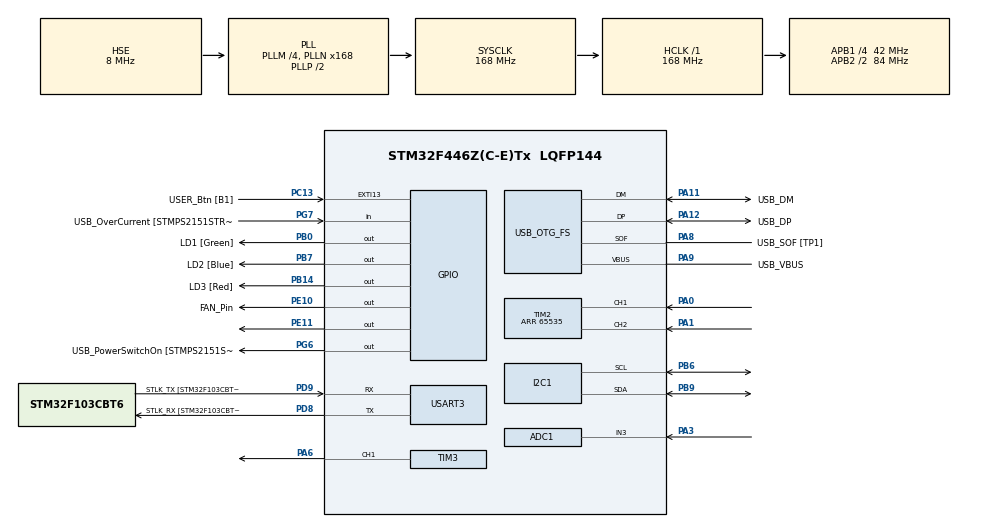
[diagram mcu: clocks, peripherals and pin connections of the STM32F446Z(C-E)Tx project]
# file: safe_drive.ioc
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ADC1.Channel-0\#ChannelRegularConversion=ADC_CHANNEL_3
ADC1.NbrOfConversionFlag=1
ADC1.Rank-0\#ChannelRegularConversion=1
ADC1.SamplingTime-0\#ChannelRegularConversion=ADC_SAMPLETIME_56CYCLES
ADC1.master=1
Mcu.Family=STM32F4
Mcu.Name=STM32F446Z(C-E)Tx
Mcu.Package=LQFP144
NVIC.EXTI15_10_IRQn=true\:0\:0\:false\:false\:true\:true\:true\:true
NVIC.PriorityGroup=NVIC_PRIORITYGROUP_4
PA0-WKUP.Signal=S_TIM2_CH1_ETR
PA1.Signal=S_TIM2_CH2
PA10.GPIO_Label=USB_ID
PA10.Signal=USB_OTG_FS_ID
PA11.GPIO_Label=USB_DM
PA11.Mode=Device_Only
PA11.Signal=USB_OTG_FS_DM
PA12.GPIO_Label=USB_DP
PA12.Mode=Device_Only
PA12.Signal=USB_OTG_FS_DP
PA13.GPIO_Label=TMS
PA13.Mode=Serial_Wire
PA13.Signal=SYS_JTMS-SWDIO
PA14.GPIO_Label=TCK
PA14.Mode=Serial_Wire
PA14.Signal=SYS_JTCK-SWCLK
PA3.Signal=ADCx_IN3
PA6.Signal=S_TIM3_CH1
PA8.GPIO_Label=USB_SOF [TP1]
PA8.Mode=Activate_SOF_FS
PA8.Signal=USB_OTG_FS_SOF
PA9.GPIO_Label=USB_VBUS
PA9.Mode=Activate_VBUS
PA9.Signal=USB_OTG_FS_VBUS
PB0.GPIO_Label=LD1 [Green]
PB0.Signal=GPIO_Output
PB14.GPIO_Label=LD3 [Red]
PB14.Signal=GPIO_Output
PB6.Mode=I2C
PB6.Signal=I2C1_SCL
PB7.GPIO_Label=LD2 [Blue]
PB7.Signal=GPIO_Output
PB9.Mode=I2C
PB9.Signal=I2C1_SDA
PC13.GPIO_Label=USER_Btn [B1]
PC13.GPIO_ModeDefaultEXTI=GPIO_MODE_IT_RISING_FALLING
PC13.Signal=GPXTI13
PC14-OSC32_IN.Mode=LSE-External-Oscillator
PC14-OSC32_IN.Signal=RCC_OSC32_IN
PC15-OSC32_OUT.Mode=LSE-External-Oscillator
PC15-OSC32_OUT.Signal=RCC_OSC32_OUT
PD8.GPIO_Label=STLK_RX [STM32F103CBT6_PA3]
PD8.Mode=Asynchronous
PD8.Signal=USART3_TX
PD9.GPIO_Label=STLK_TX [STM32F103CBT6_PA2]
PD9.Mode=Asynchronous
PD9.Signal=USART3_RX
PE10.GPIO_Label=FAN_Pin
PE10.Signal=GPIO_Output
PE11.Signal=GPIO_Output
PG6.GPIO_Label=USB_PowerSwitchOn [STMPS2151STR_EN]
PG6.Signal=GPIO_Output
PG7.GPIO_Label=USB_OverCurrent [STMPS2151STR_FAULT]
PG7.Signal=GPIO_Input
PH0-OSC_IN.GPIO_Label=MCO [STM32F103CBT6_PA8]
PH0-OSC_IN.Mode=HSE-External-Clock-Source
PH0-OSC_IN.Signal=RCC_OSC_IN
PH1-OSC_OUT.Mode=HSE-External-Clock-Source
PH1-OSC_OUT.Signal=RCC_OSC_OUT
ProjectManager.HeapSize=0x200
ProjectManager.StackSize=0x400
ProjectManager.TargetToolchain=CMake
RCC.48MHZClocksFreq_Value=24000000
RCC.AHBFreq_Value=168000000
RCC.APB1CLKDivider=RCC_HCLK_DIV4
RCC.APB1Freq_Value=42000000
RCC.APB1TimFreq_Value=84000000
RCC.APB2CLKDivider=RCC_HCLK_DIV2
RCC.APB2Freq_Value=84000000
RCC.APB2TimFreq_Value=168000000
RCC.CortexFreq_Value=168000000
RCC.HCLKFreq_Value=168000000
RCC.HSE_VALUE=8000000
RCC.HSI_VALUE=16000000
RCC.PLLM=4
RCC.PLLMUL=RCC_PLL_MUL9
RCC.PLLN=168
RCC.PLLQ=7
RCC.PRESCALERUSB=RCC_USBCLKSOURCE_PLL_DIV1_5
RCC.SYSCLKFreq_VALUE=168000000
RCC.SYSCLKSource=RCC_SYSCLKSOURCE_PLLCLK
RCC.SYSCLKSourceVirtual=RCC_SYSCLKSOURCE_PLLCLK
RCC.USBFreq_Value=48000000
RCC.VCOOutputFreq_Value=336000000
SH.ADCx_IN3.0=ADC1_IN3,IN3
SH.S_TIM2_CH1_ETR.0=TIM2_CH1,Encoder_Interface
SH.S_TIM2_CH2.0=TIM2_CH2,Encoder_Interface
SH.S_TIM3_CH1.0=TIM3_CH1,PWM Generation1 CH1
TIM2.Period=65535
TIM3.Channel-PWM\ Generation1\ CH1=TIM_CHANNEL_1
TIM3.Period=99
TIM3.Prescaler=83
TIM3.Pulse-PWM\ Generation1\ CH1=50
USART3.VirtualMode=VM_ASYNC
USB_OTG_FS.VirtualMode=Device_Only
board=NUCLEO-F446ZE

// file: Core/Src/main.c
/* USER CODE BEGIN Header */
/**
  ******************************************************************************
  * @file           : main.c
  * @brief          : Main program body
  ******************************************************************************
  * @attention
  *
  * Copyright (c) 2026 STMicroelectronics.
  * All rights reserved.
  *
  * This software is licensed under terms that can be found in the LICENSE file
  * in the root directory of this software component.
  * If no LICENSE file comes with this software, it is provided AS-IS.
  *
  ******************************************************************************
  */
/* USER CODE END Header */
#include "main.h"
#include "hw/servo_hw.h"
#include <stdio.h>
#include <stdlib.h>
#include "hw/fan_hw.h"
#include "hw/encoder_hw.h"
#include <string.h>

ADC_HandleTypeDef hadc1;

I2C_HandleTypeDef hi2c1;

TIM_HandleTypeDef htim2;
TIM_HandleTypeDef htim3;

UART_HandleTypeDef huart3;

PCD_HandleTypeDef hpcd_USB_OTG_FS;

/* USER CODE BEGIN PV */
uint8_t last_btn_state = GPIO_PIN_RESET;
uint32_t last_debounce = 0;
uint8_t rx_data = 0;

char cmd_buf[16];
uint8_t cmd_idx = 0;

/* USER CODE END PV */

void SystemClock_Config(void);
static void MX_GPIO_Init(void);
static void MX_USART3_UART_Init(void);
static void MX_USB_OTG_FS_PCD_Init(void);
static void MX_I2C1_Init(void);
static void MX_ADC1_Init(void);
static void MX_TIM3_Init(void);
static void MX_TIM2_Init(void);

/* USER CODE BEGIN 0 */
int __io_putchar(int ch) {
    HAL_UART_Transmit(&huart3, (uint8_t*)&ch, 1, 100);
    return ch;
}

/* USER CODE END 0 */

int main(void)
{

  /* MCU Configuration--------------------------------------------------------*/

  /* Reset of all peripherals, Initializes the Flash interface and the Systick. */
  HAL_Init();

  /* Configure the system clock */
  SystemClock_Config();

  /* Initialize all configured peripherals */
  MX_GPIO_Init();
  MX_USART3_UART_Init();
  MX_USB_OTG_FS_PCD_Init();
  MX_I2C1_Init();
  MX_ADC1_Init();
  MX_TIM3_Init();
  MX_TIM2_Init();
  /* USER CODE BEGIN 2 */
  // touch_hw_init();
  // uart_hw_init(&huart3);

  //uart_hw_init(&huart3);
  // printf("Pocinje I2C sken... \r\n");
  // uint8_t found = 0;
  // for (uint8_t address = 0x08; address < 0x78; address++)
  // {
  //     HAL_StatusTypeDef result = HAL_I2C_IsDeviceReady(&hi2c1, (address << 1), 3, 5);
  //     if (result == HAL_OK)
  //     {
  //         printf("Uspjesno pronadjen uredjaj na adresi: 0x%02X\r\n", address);
  //         found++;
  //     }
  //     else if (result == HAL_ERROR)
  //     {
  //         printf("Greska pri komunikaciji sa uredjajem na adresi: 0x%02X\r\n", address);
  //     }
  // }

  // if (imu_hw_init())
  // {
  //  imu_hw_alive();
  // {
  //   float temp = 0.0f;
  //   if(imu_hw_read_temp(&temp))
  //   {
  //       printf("Temperatura: %.2f °C\r\n", temp);
  //   }
  //   else
  //   {
  //       printf("Neuspjesno citanje temperature.\r\n");
  //   }

  //  }
  //imu_hw_config_ranges();
  //distance_hw_init();
  //}
  servo_hw_init();
  fan_hw_init();
    printf("\r\n========================================\r\n");
    printf("  TEST SISTEMA SPREMAN!\r\n");
    printf("  - Za ventilator: ukucaj '1' (ili 'fan on') / '0' (ili 'fan off')\r\n");
    printf("  - Za servo: ukucaj broj izmedju -100 i 100\r\n");
    printf("========================================\r\n");
  /* USER CODE END 2 */

  /* Infinite loop */
  /* USER CODE BEGIN WHILE */
  /*uint32_t prevtick1 = 0;
  uint32_t period1 = 300;
  uint8_t led1 = 0;
  uint32_t prevtick2 = 0;
  uint32_t period2 = 600;
  uint8_t led2 = 0;*/
  while (1)
  {
    /*if (HAL_UART_Receive(&huart3, &rx_data, 1, 0) == HAL_OK)
    {
      switch (rx_data)
      {
        case '1':
          HAL_GPIO_TogglePin(LD1_GPIO_Port, LD1_Pin);
          printf("Zelena promjenjena!\r\n");
          break;

        case '2':
          HAL_GPIO_TogglePin(LD2_GPIO_Port, LD2_Pin);
          printf("Plava promjenjena!\r\n");
          break;

        case '3':
          HAL_GPIO_TogglePin(LD3_GPIO_Port, LD3_Pin);
          printf("Crvena promjenjena!\r\n");
          break;

        default:

          break;
      }
    }
    */

    // CITANJE TEMPERATURE I ISPISIVANJE NA TERMINAL NA PRITISAK DUGMETA
    // uint32_t current_tick = HAL_GetTick();
    // uint8_t btn_state = HAL_GPIO_ReadPin(USER_Btn_GPIO_Port, USER_Btn_Pin);

    // if (btn_state == GPIO_PIN_SET && last_btn_state == GPIO_PIN_RESET)
    // {
    //     if (current_tick - last_debounce > 50)
    //     {
    //         float temp = 0.0f;
    //         if (imu_hw_read_temp(&temp))
    //         {
    //            printf("Temperatura je : %.2f C\r\n", temp);
    //         }
    //         else
    //         {
    //             printf("Neuspjesno citanje temperature!\r\n");

    //         }
    //          float ax, ay, az;
    //         if (imu_hw_read_accel_g(&ax, &ay, &az))
    //         {
    //             printf("Accel: X=%.3f g, Y=%.3f g, Z=%.3f g\r\n", ax, ay, az);
    //         }

    //         float gx, gy, gz;
    //         if (imu_hw_read_gyro_dps(&gx, &gy, &gz))
    //         {
    //             printf("Gyro: X=%.2f deg/s, Y=%.2f deg/s, Z=%.2f deg/s\r\n", gx, gy, gz);
    //         }
    //             last_debounce = current_tick;
    //         }
    // }
    // last_btn_state = btn_state;

    /*if( HAL_GetTick() - prevtick1 >= period1)
    {
      prevtick1 = HAL_GetTick();

      led1 = !led1;

      if (led1)
        {
          HAL_GPIO_WritePin(LD1_GPIO_Port, LD1_Pin, GPIO_PIN_SET);
        }
        else
        {
          HAL_GPIO_WritePin(LD1_GPIO_Port, LD1_Pin, GPIO_PIN_RESET);
        }
    }

    if( HAL_GetTick() - prevtick2 >= period2)
    {
      prevtick2 = HAL_GetTick();

      led2 = !led2;

      if (led2)
        {
          HAL_GPIO_WritePin(LD2_GPIO_Port, LD2_Pin, GPIO_PIN_SET);
        }
        else
        {
          HAL_GPIO_WritePin(LD2_GPIO_Port, LD2_Pin, GPIO_PIN_RESET);
        }
    }

    if (HAL_GPIO_ReadPin(USER_Btn_GPIO_Port, USER_Btn_Pin) == GPIO_PIN_SET)
    {
        HAL_GPIO_WritePin(LD3_GPIO_Port, LD3_Pin, GPIO_PIN_SET);
    }
    else
    {
        HAL_GPIO_WritePin(LD3_GPIO_Port, LD3_Pin, GPIO_PIN_RESET);
    }*/

    // touch_hw_update();

    // if (touch_is_pressed() && touch_get_press_dur_mil() > 1000)

    //     HAL_GPIO_WritePin(LD3_GPIO_Port, LD3_Pin, GPIO_PIN_SET);

    // else
    // {
    //      HAL_GPIO_WritePin(LD3_GPIO_Port, LD3_Pin, GPIO_PIN_RESET);
    // }

    // uart_hw_update();
    /*
*/
    //CITANJE UDALJENOSTI
    // static uint32_t last_distance_read = 0;
    // if (HAL_GetTick() - last_distance_read >= 500)
    // {
    //     last_distance_read = HAL_GetTick();
    //     float distance = 0.0f;
    //     if (distance_hw_read_cm(&distance))
    //     {
    //         printf("Udaljenost: %.2f cm\r\n", distance);
    //     }
    // }
   // KALIBRACIJA SENZORA
//    float v = 0.0f;
// if (distance_hw_read_voltage_debug(&v))
// {
//     printf("Napon: %.3f V\r\n", v);
// }
    while (1)
    {
        if (HAL_UART_Receive(&huart3, &rx_data, 1, 0) == HAL_OK)
        {
            if (rx_data == '\r' || rx_data == '\n')
            {
                if (cmd_idx > 0)
                {
                    cmd_buf[cmd_idx] = '\0'; // Zavrsi string

                    // 1. Provjera komandi za ventilator
                    if (strcmp(cmd_buf, "1") == 0 || strcmp(cmd_buf, "fan on") == 0)
                    {
                        fan_hw_set(true);
                        printf("Ventilator: UPALJEN (PE10 -> HIGH)\r\n");
                    }
                    else if (strcmp(cmd_buf, "0") == 0 || strcmp(cmd_buf, "fan off") == 0)
                    {
                        fan_hw_set(false);
                        printf("Ventilator: UGASEN (PE10 -> LOW)\r\n");
                    }
                    // 2. Ako nije ventilator, obradi kao brzinu serva
                    else
                    {
                        int speed = atoi(cmd_buf);
                        servo_hw_set_speed((int8_t)speed);
                        printf("Servo brzina postavljena na: %d\r\n", speed);
                    }

                    cmd_idx = 0; // Resetuj bafer za sljedecu komandu
                }
            }
            else if (cmd_idx < sizeof(cmd_buf) - 1)
            {
                cmd_buf[cmd_idx++] = rx_data;
            }
        }
    /* USER CODE END WHILE */

  }
}
}

void SystemClock_Config(void)
{
  RCC_OscInitTypeDef RCC_OscInitStruct = {0};
  RCC_ClkInitTypeDef RCC_ClkInitStruct = {0};

  /** Configure the main internal regulator output voltage
  */
  __HAL_RCC_PWR_CLK_ENABLE();
  __HAL_PWR_VOLTAGESCALING_CONFIG(PWR_REGULATOR_VOLTAGE_SCALE1);

  /** Initializes the RCC Oscillators according to the specified parameters
  * in the RCC_OscInitTypeDef structure.
  */
  RCC_OscInitStruct.OscillatorType = RCC_OSCILLATORTYPE_HSE;
  RCC_OscInitStruct.HSEState = RCC_HSE_BYPASS;
  RCC_OscInitStruct.PLL.PLLState = RCC_PLL_ON;
  RCC_OscInitStruct.PLL.PLLSource = RCC_PLLSOURCE_HSE;
  RCC_OscInitStruct.PLL.PLLM = 4;
  RCC_OscInitStruct.PLL.PLLN = 168;
  RCC_OscInitStruct.PLL.PLLP = RCC_PLLP_DIV2;
  RCC_OscInitStruct.PLL.PLLQ = 7;
  RCC_OscInitStruct.PLL.PLLR = 2;
  if (HAL_RCC_OscConfig(&RCC_OscInitStruct) != HAL_OK)
  {
    Error_Handler();
  }

  /** Initializes the CPU, AHB and APB buses clocks
  */
  RCC_ClkInitStruct.ClockType = RCC_CLOCKTYPE_HCLK|RCC_CLOCKTYPE_SYSCLK
                              |RCC_CLOCKTYPE_PCLK1|RCC_CLOCKTYPE_PCLK2;
  RCC_ClkInitStruct.SYSCLKSource = RCC_SYSCLKSOURCE_PLLCLK;
  RCC_ClkInitStruct.AHBCLKDivider = RCC_SYSCLK_DIV1;
  RCC_ClkInitStruct.APB1CLKDivider = RCC_HCLK_DIV4;
  RCC_ClkInitStruct.APB2CLKDivider = RCC_HCLK_DIV2;

  if (HAL_RCC_ClockConfig(&RCC_ClkInitStruct, FLASH_LATENCY_5) != HAL_OK)
  {
    Error_Handler();
  }
}

static void MX_ADC1_Init(void)
{

  ADC_ChannelConfTypeDef sConfig = {0};

  /** Configure the global features of the ADC (Clock, Resolution, Data Alignment and number of conversion)
  */
  hadc1.Instance = ADC1;
  hadc1.Init.ClockPrescaler = ADC_CLOCK_SYNC_PCLK_DIV4;
  hadc1.Init.Resolution = ADC_RESOLUTION_12B;
  hadc1.Init.ScanConvMode = DISABLE;
  hadc1.Init.ContinuousConvMode = DISABLE;
  hadc1.Init.DiscontinuousConvMode = DISABLE;
  hadc1.Init.ExternalTrigConvEdge = ADC_EXTERNALTRIGCONVEDGE_NONE;
  hadc1.Init.ExternalTrigConv = ADC_SOFTWARE_START;
  hadc1.Init.DataAlign = ADC_DATAALIGN_RIGHT;
  hadc1.Init.NbrOfConversion = 1;
  hadc1.Init.DMAContinuousRequests = DISABLE;
  hadc1.Init.EOCSelection = ADC_EOC_SINGLE_CONV;
  if (HAL_ADC_Init(&hadc1) != HAL_OK)
  {
    Error_Handler();
  }

  /** Configure for the selected ADC regular channel its corresponding rank in the sequencer and its sample time.
  */
  sConfig.Channel = ADC_CHANNEL_3;
  sConfig.Rank = 1;
  sConfig.SamplingTime = ADC_SAMPLETIME_56CYCLES;
  if (HAL_ADC_ConfigChannel(&hadc1, &sConfig) != HAL_OK)
  {
    Error_Handler();
  }

}

static void MX_I2C1_Init(void)
{

  hi2c1.Instance = I2C1;
  hi2c1.Init.ClockSpeed = 100000;
  hi2c1.Init.DutyCycle = I2C_DUTYCYCLE_2;
  hi2c1.Init.OwnAddress1 = 0;
  hi2c1.Init.AddressingMode = I2C_ADDRESSINGMODE_7BIT;
  hi2c1.Init.DualAddressMode = I2C_DUALADDRESS_DISABLE;
  hi2c1.Init.OwnAddress2 = 0;
  hi2c1.Init.GeneralCallMode = I2C_GENERALCALL_DISABLE;
  hi2c1.Init.NoStretchMode = I2C_NOSTRETCH_DISABLE;
  if (HAL_I2C_Init(&hi2c1) != HAL_OK)
  {
    Error_Handler();
  }

}

static void MX_TIM2_Init(void)
{

  TIM_Encoder_InitTypeDef sConfig = {0};
  TIM_MasterConfigTypeDef sMasterConfig = {0};

  htim2.Instance = TIM2;
  htim2.Init.Prescaler = 0;
  htim2.Init.CounterMode = TIM_COUNTERMODE_UP;
  htim2.Init.Period = 65535;
  htim2.Init.ClockDivision = TIM_CLOCKDIVISION_DIV1;
  htim2.Init.AutoReloadPreload = TIM_AUTORELOAD_PRELOAD_DISABLE;
  sConfig.EncoderMode = TIM_ENCODERMODE_TI1;
  sConfig.IC1Polarity = TIM_ICPOLARITY_RISING;
  sConfig.IC1Selection = TIM_ICSELECTION_DIRECTTI;
  sConfig.IC1Prescaler = TIM_ICPSC_DIV1;
  sConfig.IC1Filter = 0;
  sConfig.IC2Polarity = TIM_ICPOLARITY_RISING;
  sConfig.IC2Selection = TIM_ICSELECTION_DIRECTTI;
  sConfig.IC2Prescaler = TIM_ICPSC_DIV1;
  sConfig.IC2Filter = 0;
  if (HAL_TIM_Encoder_Init(&htim2, &sConfig) != HAL_OK)
  {
    Error_Handler();
  }
  sMasterConfig.MasterOutputTrigger = TIM_TRGO_RESET;
  sMasterConfig.MasterSlaveMode = TIM_MASTERSLAVEMODE_DISABLE;
  if (HAL_TIMEx_MasterConfigSynchronization(&htim2, &sMasterConfig) != HAL_OK)
  {
    Error_Handler();
  }

}

static void MX_TIM3_Init(void)
{

  TIM_MasterConfigTypeDef sMasterConfig = {0};
  TIM_OC_InitTypeDef sConfigOC = {0};

  htim3.Instance = TIM3;
  htim3.Init.Prescaler = 83;
  htim3.Init.CounterMode = TIM_COUNTERMODE_UP;
  htim3.Init.Period = 99;
  htim3.Init.ClockDivision = TIM_CLOCKDIVISION_DIV1;
  htim3.Init.AutoReloadPreload = TIM_AUTORELOAD_PRELOAD_DISABLE;
  if (HAL_TIM_PWM_Init(&htim3) != HAL_OK)
  {
    Error_Handler();
  }
  sMasterConfig.MasterOutputTrigger = TIM_TRGO_RESET;
  sMasterConfig.MasterSlaveMode = TIM_MASTERSLAVEMODE_DISABLE;
  if (HAL_TIMEx_MasterConfigSynchronization(&htim3, &sMasterConfig) != HAL_OK)
  {
    Error_Handler();
  }
  sConfigOC.OCMode = TIM_OCMODE_PWM1;
  sConfigOC.Pulse = 50;
  sConfigOC.OCPolarity = TIM_OCPOLARITY_HIGH;
  sConfigOC.OCFastMode = TIM_OCFAST_DISABLE;
  if (HAL_TIM_PWM_ConfigChannel(&htim3, &sConfigOC, TIM_CHANNEL_1) != HAL_OK)
  {
    Error_Handler();
  }
  HAL_TIM_MspPostInit(&htim3);

}

static void MX_USART3_UART_Init(void)
{

  huart3.Instance = USART3;
  huart3.Init.BaudRate = 115200;
  huart3.Init.WordLength = UART_WORDLENGTH_8B;
  huart3.Init.StopBits = UART_STOPBITS_1;
  huart3.Init.Parity = UART_PARITY_NONE;
  huart3.Init.Mode = UART_MODE_TX_RX;
  huart3.Init.HwFlowCtl = UART_HWCONTROL_NONE;
  huart3.Init.OverSampling = UART_OVERSAMPLING_16;
  if (HAL_UART_Init(&huart3) != HAL_OK)
  {
    Error_Handler();
  }

}

static void MX_USB_OTG_FS_PCD_Init(void)
{

  hpcd_USB_OTG_FS.Instance = USB_OTG_FS;
  hpcd_USB_OTG_FS.Init.dev_endpoints = 6;
  hpcd_USB_OTG_FS.Init.speed = PCD_SPEED_FULL;
  hpcd_USB_OTG_FS.Init.dma_enable = DISABLE;
  hpcd_USB_OTG_FS.Init.phy_itface = PCD_PHY_EMBEDDED;
  hpcd_USB_OTG_FS.Init.Sof_enable = ENABLE;
  hpcd_USB_OTG_FS.Init.low_power_enable = DISABLE;
  hpcd_USB_OTG_FS.Init.lpm_enable = DISABLE;
  hpcd_USB_OTG_FS.Init.vbus_sensing_enable = ENABLE;
  hpcd_USB_OTG_FS.Init.use_dedicated_ep1 = DISABLE;
  if (HAL_PCD_Init(&hpcd_USB_OTG_FS) != HAL_OK)
  {
    Error_Handler();
  }

}

static void MX_GPIO_Init(void)
{
  GPIO_InitTypeDef GPIO_InitStruct = {0};

  /* GPIO Ports Clock Enable */
  __HAL_RCC_GPIOC_CLK_ENABLE();
  __HAL_RCC_GPIOH_CLK_ENABLE();
  __HAL_RCC_GPIOA_CLK_ENABLE();
  __HAL_RCC_GPIOB_CLK_ENABLE();
  __HAL_RCC_GPIOE_CLK_ENABLE();
  __HAL_RCC_GPIOD_CLK_ENABLE();
  __HAL_RCC_GPIOG_CLK_ENABLE();

  /*Configure GPIO pin Output Level */
  HAL_GPIO_WritePin(GPIOB, LD1_Pin|LD3_Pin|LD2_Pin, GPIO_PIN_RESET);

  /*Configure GPIO pin Output Level */
  HAL_GPIO_WritePin(GPIOE, FAN_Pin_Pin|GPIO_PIN_11, GPIO_PIN_RESET);

  /*Configure GPIO pin Output Level */
  HAL_GPIO_WritePin(USB_PowerSwitchOn_GPIO_Port, USB_PowerSwitchOn_Pin, GPIO_PIN_RESET);

  /*Configure GPIO pin : USER_Btn_Pin */
  GPIO_InitStruct.Pin = USER_Btn_Pin;
  GPIO_InitStruct.Mode = GPIO_MODE_IT_RISING_FALLING;
  GPIO_InitStruct.Pull = GPIO_NOPULL;
  HAL_GPIO_Init(USER_Btn_GPIO_Port, &GPIO_InitStruct);

  /*Configure GPIO pins : LD1_Pin LD3_Pin LD2_Pin */
  GPIO_InitStruct.Pin = LD1_Pin|LD3_Pin|LD2_Pin;
  GPIO_InitStruct.Mode = GPIO_MODE_OUTPUT_PP;
  GPIO_InitStruct.Pull = GPIO_NOPULL;
  GPIO_InitStruct.Speed = GPIO_SPEED_FREQ_LOW;
  HAL_GPIO_Init(GPIOB, &GPIO_InitStruct);

  /*Configure GPIO pins : FAN_Pin_Pin PE11 */
  GPIO_InitStruct.Pin = FAN_Pin_Pin|GPIO_PIN_11;
  GPIO_InitStruct.Mode = GPIO_MODE_OUTPUT_PP;
  GPIO_InitStruct.Pull = GPIO_NOPULL;
  GPIO_InitStruct.Speed = GPIO_SPEED_FREQ_LOW;
  HAL_GPIO_Init(GPIOE, &GPIO_InitStruct);

  /*Configure GPIO pin : USB_PowerSwitchOn_Pin */
  GPIO_InitStruct.Pin = USB_PowerSwitchOn_Pin;
  GPIO_InitStruct.Mode = GPIO_MODE_OUTPUT_PP;
  GPIO_InitStruct.Pull = GPIO_NOPULL;
  GPIO_InitStruct.Speed = GPIO_SPEED_FREQ_LOW;
  HAL_GPIO_Init(USB_PowerSwitchOn_GPIO_Port, &GPIO_InitStruct);

  /*Configure GPIO pin : USB_OverCurrent_Pin */
  GPIO_InitStruct.Pin = USB_OverCurrent_Pin;
  GPIO_InitStruct.Mode = GPIO_MODE_INPUT;
  GPIO_InitStruct.Pull = GPIO_NOPULL;
  HAL_GPIO_Init(USB_OverCurrent_GPIO_Port, &GPIO_InitStruct);

  /* EXTI interrupt init*/
  HAL_NVIC_SetPriority(EXTI15_10_IRQn, 0, 0);
  HAL_NVIC_EnableIRQ(EXTI15_10_IRQn);

}

/* USER CODE BEGIN 4 */
void HAL_GPIO_EXTI_Callback(uint16_t GPIO_Pin)
{
  //touch_hw_on_exti(GPIO_Pin);
}
/* USER CODE END 4 */

void Error_Handler(void)
{
  __disable_irq();
  while (1)
  {
  }
}
